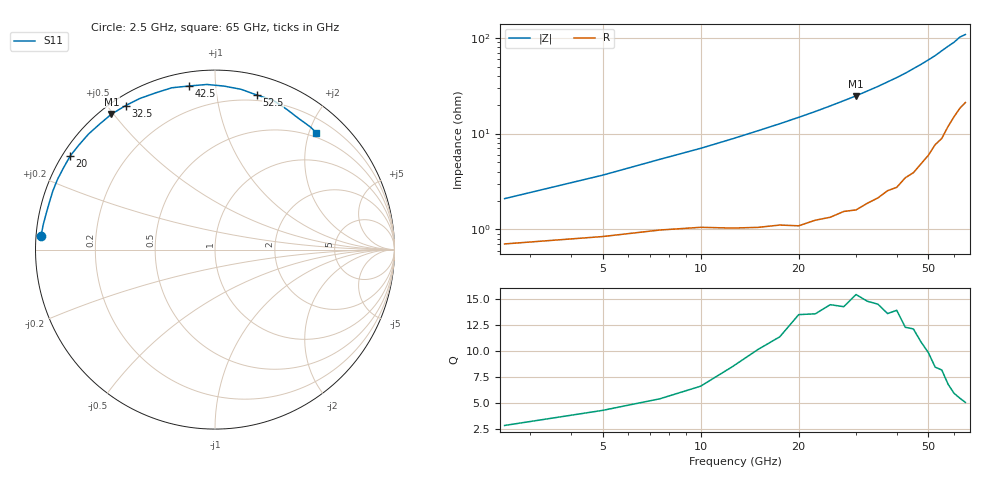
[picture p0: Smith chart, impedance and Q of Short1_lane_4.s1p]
! File created by SignalIntegrity v1.5.1: Signal and Power Integrity Tools
! https://github.com/Nubis-Communications/SignalIntegrity
# MHz S MA R 50.0
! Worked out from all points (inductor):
!   26 points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, 2.5 GHz to 65 GHz, reference 50 ohm
!   read as one part to ground: L = 112 pH near 5 GHz
!   highest Q = 14.8 at 30 GHz (marker M1), where L = 131 pH
!   S11 on the Smith chart (normalised r, x): 2.5 GHz: 0.01, +0.04; 20 GHz: 0.02, +0.29; 32.5 GHz: 0.04, +0.56; 42.5 GHz: 0.07, +0.85; 52.5 GHz: 0.15, +1.29; 65 GHz: 0.42, +2.12
2500  0.9723 175.5
5000  0.9671 171.8
7500  0.9618 167.9
10000  0.9596 164.2
12500  0.9608 160.1
15000  0.9607 155.9
17500  0.9592 151.6
20000  0.9607 147.1
22500  0.9563 142.5
25000  0.9545 137.6
27500  0.9498 132.5
30000  0.95 127.4
32500  0.9444 121.8
35000  0.9403 116.4
37500  0.9337 110.6
40000  0.9332 105.0
42500  0.923 99.1
45000  0.9212 92.8
47500  0.9124 86.9
50000  0.9049 80.8
52500  0.8922 74.9
55000  0.8925 68.6
57500  0.8777 62.8
60000  0.867 57.8
62500  0.8658 51.9
65000  0.8613 49.0
